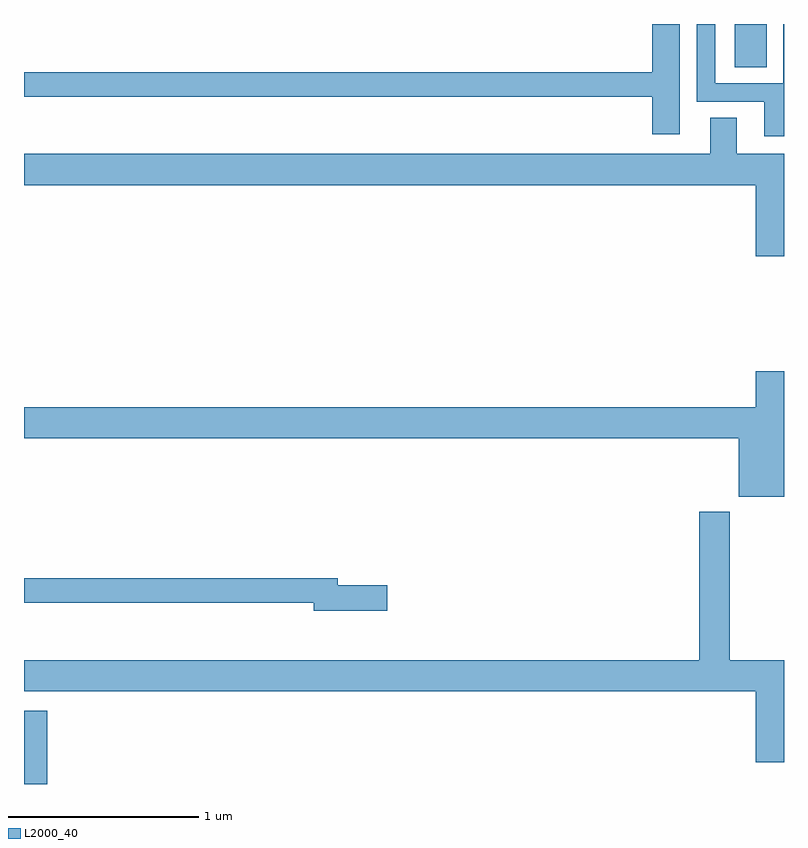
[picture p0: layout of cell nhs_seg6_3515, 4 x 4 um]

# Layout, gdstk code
import gdstk
lib = gdstk.Library(unit=1e-6, precision=1e-09)
def R(c, l, rs):  # rectangles x0, y0, x1, y1
    for r in rs: c.add(gdstk.rectangle(r[:2], r[2:], *l))
def P(c, l, *ps):  # polygons
    for p in ps: c.add(gdstk.Polygon(p, *l))
L2000_40 = (2000, 40)

nhs_seg6_3515 = lib.new_cell('nhs_seg6_3515')
R(nhs_seg6_3515, L2000_40, [(317,961.5,317.123,961.885), (320.741,965.272,320.908,965.5)])
P(nhs_seg6_3515, L2000_40, [(321,965.5),(320.997,965.5),(320.997,965.187),(320.637,965.187),(320.637,965.5),(320.541,965.5),(320.541,965.091),(320.897,965.091),(320.897,964.91),(321,964.91)],
  [(320.452,965.5),(320.306,965.5),(320.306,965.246),(317,965.246),(317,965.118),(320.306,965.118),(320.306,964.92),(320.452,964.92)],
  [(321,964.816),(320.752,964.816),(320.752,965.006),(320.612,965.006),(320.612,964.816),(317,964.816),(317,964.652),(320.852,964.652),(320.852,964.278),(321,964.278)],
  [(321,963.673),(320.852,963.673),(320.852,963.484),(317,963.484),(317,963.32),(320.762,963.32),(320.762,963.011),(321,963.011)],
  [(321,962.152),(320.715,962.152),(320.715,962.932),(320.555,962.932),(320.555,962.152),(317,962.152),(317,961.988),(320.852,961.988),(320.852,961.614),(321,961.614)],
  [(318.913,962.546),(318.652,962.546),(318.652,962.582),(317,962.582),(317,962.454),(318.524,962.454),(318.524,962.411),(318.913,962.411)])

lib.write_gds('nhs_seg6_3515.gds')
